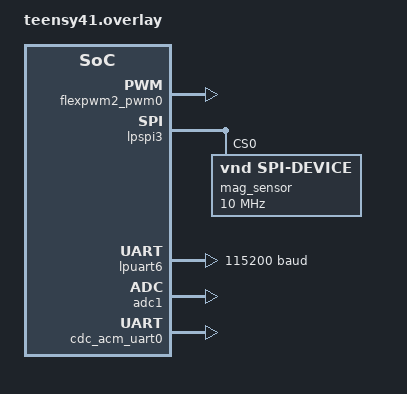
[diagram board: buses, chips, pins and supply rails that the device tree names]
/*
 * Device Tree Overlay para Teensy 4.1 - FOC Motor Driver
 */
#include <zephyr/dt-bindings/pinctrl/nxp-imx-pinctrl.h>

/ {
    aliases {
        led0 = &board_led;
        
        // Dispositivos FOC
        adc-motor = &adc1;
        uart-telem = &lpuart6;
        spi-mag = &lpspi3;
    };
    chosen { zephyr,console = &cdc_acm_uart0; };
};

&pinctrl {
    pinmux_flexpwm2: pinmux_flexpwm2 {
        group0 {
            pinmux = <&iomuxc_gpio_emc_06_flexpwm2_pwma0>, /* Pin 4 (High A) */
                     <&iomuxc_gpio_emc_07_flexpwm2_pwmb0>, /* Pin 33 (Low A) */
                     <&iomuxc_gpio_b0_10_flexpwm2_pwma2>, /* Pin 6 (High B) */
                     <&iomuxc_gpio_b0_11_flexpwm2_pwmb2>, /* Pin 9 (Low B) */
                     <&iomuxc_gpio_sd_b1_02_flexpwm2_pwma3>,  /* Pin 36 (High C) */
                     <&iomuxc_gpio_sd_b1_03_flexpwm2_pwmb3>;  /* Pin 37 (Low C) */
            drive-strength = "r0-4";
            slew-rate = "fast";
        };
    };
};

&flexpwm2_pwm0 {
    status = "okay";
    pinctrl-0 = <&pinmux_flexpwm2>;
    pinctrl-names = "default";
};

&lpspi3 {
    status = "okay";
    mag_sensor: as5048a@0 {
        compatible = "vnd,spi-device";
        reg = <0>;
        spi-max-frequency = <10000000>;
    };
};

&lpuart6 {
    status = "okay";
    current-speed = <115200>;
};

&adc1 {
    status = "okay";
    #address-cells = <1>;
    #size-cells = <0>;
};

&zephyr_udc0 { cdc_acm_uart0: cdc_acm_uart0 { compatible = "zephyr,cdc-acm-uart"; }; };
